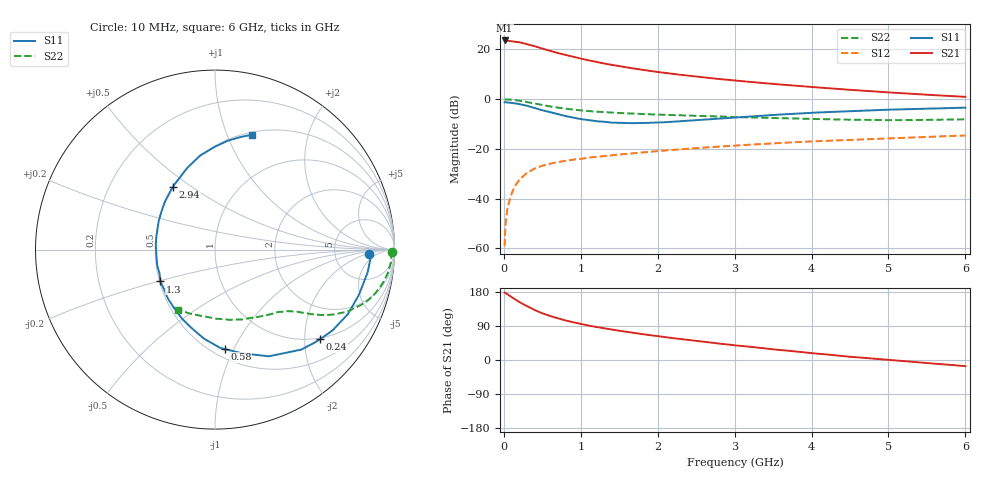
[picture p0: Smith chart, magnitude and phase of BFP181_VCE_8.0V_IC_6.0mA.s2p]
! Infineon Technologies  Discrete & RF Semiconductors
! BFP181
! VCE = 8.0 V,  IC =  6.0 mA
! Common Emitter S-Parameters:  Jan 2016
# GHz  S  MA  R  50
!  f  S11  S21  S12  S22
! GHz  MAG  ANG  MAG  ANG  MAG  ANG  MAG  ANG
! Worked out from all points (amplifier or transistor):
!   210 points, 10 MHz to 6 GHz, reference 50 ohm
!   highest |S21| = 23.6 dB at 10 MHz (marker M1)
!   |S21| within 3 dB of that: start of sweep to 472.2 MHz
!   unconditionally stable (mu >= 1): 1.697 GHz to end of sweep
!   at 185 MHz: K = 0.18, MSG = 28.0 dB, |S12| = -33.2 dB
!   at 1.52 GHz: K = 0.95, MSG = 17.7 dB, |S12| = -22.2 dB
!   at 6 GHz: K = 1.05, MAG = 6.4 dB, |S12| = -14.6 dB
!   S11 on the Smith chart (normalised r, x): 10 MHz: 13, -3; 240 MHz: 0.97, -2.38; 580 MHz: 0.57, -0.92; 1.3 GHz: 0.51, -0.21; 2.94 GHz: 0.50, +0.42; 6 GHz: 0.53, +1.23
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0.01  0.8609 -1.7  15.12 177.8  0.0011 85.9  0.988 -0.7
0.025  0.8655 -4.3  14.95 176.4  0.0034 85.3  0.983 -1.9
0.07  0.8495 -12.1  14.77 170.2  0.0088 81.3  0.9779 -5.5
0.1  0.8404 -17.5  14.61 166.2  0.0123 78.1  0.9713 -7.9
0.18  0.8042 -30.9  14.03 155.7  0.0215 73.5  0.9379 -13.5
0.2  0.7951 -34.4  13.93 153.1  0.0236 72.5  0.9285 -14.9
0.24  0.7699 -40.4  13.42 148.4  0.027 68.8  0.9064 -17.4
0.3  0.7359 -49.2  12.73 142.3  0.0327 64.6  0.872 -20.6
0.4  0.666 -63.2  11.6 131.7  0.04 59.4  0.8143 -25.1
0.5  0.5968 -75.5  10.39 123.2  0.0456 54.0  0.7581 -28.4
0.58  0.5565 -84.5  9.599 117.7  0.0492 51.6  0.7203 -30.4
0.7  0.5007 -96.9  8.447 110.0  0.054 48.7  0.6741 -32.6
0.8  0.4563 -106.6  7.755 104.5  0.0571 47.3  0.6427 -34.0
1.02  0.3927 -126.8  6.413 94.3  0.0634 44.5  0.5885 -36.4
1.3  0.352 -149.7  5.207 83.8  0.0712 42.5  0.5457 -39.0
1.68  0.328 -177.2  4.144 71.7  0.0816 41.1  0.5108 -42.7
2.02  0.3379 162.6  3.479 62.4  0.0906 39.7  0.4877 -46.3
2.94  0.4197 124.1  2.416 40.2  0.1146 35.1  0.4387 -59.1
3.1  0.4358 119.2  2.292 36.9  0.1186 34.0  0.4312 -61.7
4.1  0.5393 96.9  1.707 16.4  0.1429 27.4  0.3955 -80.4
5.1  0.6177 81.9  1.335 -1.4  0.1642 20.9  0.3771 -101.7
6  0.6724 72.2  1.11 -16.2  0.1853 14.8  0.3926 -121.7
